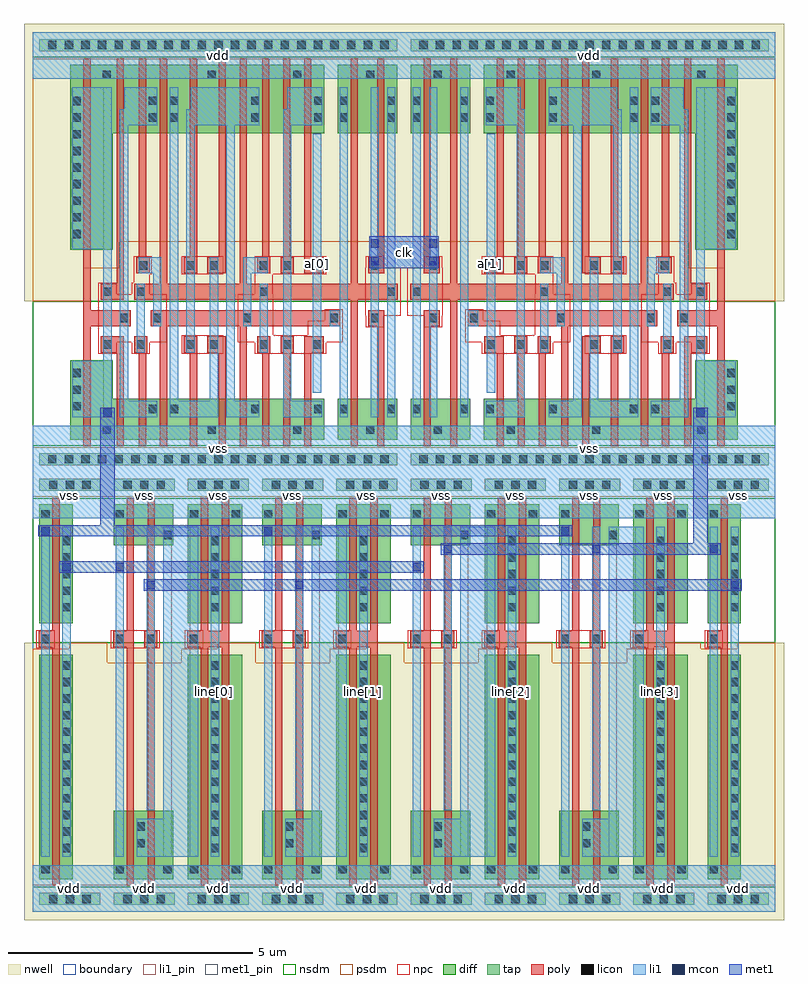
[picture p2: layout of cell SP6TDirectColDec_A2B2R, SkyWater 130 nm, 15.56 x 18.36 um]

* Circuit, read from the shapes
.subckt SP6TDirectColDec_A2B2R a[0] a[1] clk line[0] line[1] line[2] line[3] vdd vss
XM1 Dec_nand2_x0_7/i0 Dec_inv_x1_4/i vss vss sky130_fd_pr__nfet_01v8 w=2.44 l=0.15
XM2 vss n1 Dec_inv_x1_4/i vss sky130_fd_pr__nfet_01v8 w=1.63 l=0.15
XM3 n2 Dec_inv_x1_4/i vss vss sky130_fd_pr__nfet_01v8 w=0.84 l=0.15
XM4 n3 Dec_nand2_x0_7/i0 vss vss sky130_fd_pr__nfet_01v8 w=0.84 l=0.15
XM5 n1 n4 n2 vss sky130_fd_pr__nfet_01v8 w=0.84 l=0.15
XM6 Dec_inv_x2_0/i Dec_nand2_x0_7/i1 n3 vss sky130_fd_pr__nfet_01v8 w=0.84 l=0.15
XM7 n5 n6 n1 vss sky130_fd_pr__nfet_01v8 w=0.84 l=0.15
XM8 vss n7 n5 vss sky130_fd_pr__nfet_01v8 w=0.84 l=0.15
XM9 line[0] Dec_inv_x2_0/i vss vss sky130_fd_pr__nfet_01v8 w=2.44 l=0.15 m=2
XM10 n8 n5 vss vss sky130_fd_pr__nfet_01v8 w=0.84 l=0.15
XM11 n7 n6 n8 vss sky130_fd_pr__nfet_01v8 w=0.84 l=0.15
XM12 n9 n4 n7 vss sky130_fd_pr__nfet_01v8 w=0.84 l=0.15
XM13 n10 Dec_inv_x1_4/i vss vss sky130_fd_pr__nfet_01v8 w=0.84 l=0.15
XM14 vss n11 n9 vss sky130_fd_pr__nfet_01v8 w=0.84 l=0.15
XM15 Dec_inv_x2_1/i Dec_nand2_x0_7/i1 n10 vss sky130_fd_pr__nfet_01v8 w=0.84 l=0.15
XM16 n11 a[0] vss vss sky130_fd_pr__nfet_01v8 w=0.84 l=0.15
XM17 line[1] Dec_inv_x2_1/i vss vss sky130_fd_pr__nfet_01v8 w=2.44 l=0.15 m=2
XM18 vss n4 n6 vss sky130_fd_pr__nfet_01v8 w=0.84 l=0.15
XM19 n4 clk vss vss sky130_fd_pr__nfet_01v8 w=0.84 l=0.15
XM20 n12 Dec_nand2_x0_7/i0 vss vss sky130_fd_pr__nfet_01v8 w=0.84 l=0.15
XM21 vss clk n13 vss sky130_fd_pr__nfet_01v8 w=0.84 l=0.15
XM22 Dec_inv_x2_2/i Dec_inv_x1_5/i n12 vss sky130_fd_pr__nfet_01v8 w=0.84 l=0.15
XM23 n14 n13 vss vss sky130_fd_pr__nfet_01v8 w=0.84 l=0.15
XM24 vss a[1] n15 vss sky130_fd_pr__nfet_01v8 w=0.84 l=0.15
XM25 line[2] Dec_inv_x2_2/i vss vss sky130_fd_pr__nfet_01v8 w=2.44 l=0.15 m=2
XM26 n16 n15 vss vss sky130_fd_pr__nfet_01v8 w=0.84 l=0.15
XM27 n17 n13 n16 vss sky130_fd_pr__nfet_01v8 w=0.84 l=0.15
XM28 n18 n14 n17 vss sky130_fd_pr__nfet_01v8 w=0.84 l=0.15
XM29 n19 Dec_inv_x1_4/i vss vss sky130_fd_pr__nfet_01v8 w=0.84 l=0.15
XM30 vss n20 n18 vss sky130_fd_pr__nfet_01v8 w=0.84 l=0.15
XM31 Dec_inv_x2_3/i Dec_inv_x1_5/i n19 vss sky130_fd_pr__nfet_01v8 w=0.84 l=0.15
XM32 n20 n17 vss vss sky130_fd_pr__nfet_01v8 w=0.84 l=0.15
XM33 n21 n14 n20 vss sky130_fd_pr__nfet_01v8 w=0.84 l=0.15
XM34 line[3] Dec_inv_x2_3/i vss vss sky130_fd_pr__nfet_01v8 w=2.44 l=0.15 m=2
XM35 n22 n13 n21 vss sky130_fd_pr__nfet_01v8 w=0.84 l=0.15
XM36 vss Dec_inv_x1_5/i n22 vss sky130_fd_pr__nfet_01v8 w=0.84 l=0.15
XM37 Dec_inv_x1_5/i n21 vss vss sky130_fd_pr__nfet_01v8 w=1.63 l=0.15
XM38 Dec_nand2_x0_7/i1 Dec_inv_x1_5/i vss vss sky130_fd_pr__nfet_01v8 w=2.44 l=0.15
XM39 Dec_nand2_x0_7/i0 Dec_inv_x1_4/i vdd vdd sky130_fd_pr__pfet_01v8 w=4.6 l=0.15
XM40 vdd n1 Dec_inv_x1_4/i vdd sky130_fd_pr__pfet_01v8 w=3.79 l=0.15
XM41 n23 Dec_inv_x1_4/i vdd vdd sky130_fd_pr__pfet_01v8 w=1.4 l=0.15
XM42 Dec_inv_x2_0/i Dec_nand2_x0_7/i0 vdd vdd sky130_fd_pr__pfet_01v8 w=1.4 l=0.15
XM43 n1 n6 n23 vdd sky130_fd_pr__pfet_01v8 w=1.4 l=0.15
XM44 vdd Dec_nand2_x0_7/i1 Dec_inv_x2_0/i vdd sky130_fd_pr__pfet_01v8 w=1.4 l=0.15
XM45 n5 n4 n1 vdd sky130_fd_pr__pfet_01v8 w=1.4 l=0.15
XM46 vdd n7 n5 vdd sky130_fd_pr__pfet_01v8 w=1.4 l=0.15
XM47 line[0] Dec_inv_x2_0/i vdd vdd sky130_fd_pr__pfet_01v8 w=4.6 l=0.15 m=2
XM48 n24 n5 vdd vdd sky130_fd_pr__pfet_01v8 w=1.4 l=0.15
XM49 n7 n4 n24 vdd sky130_fd_pr__pfet_01v8 w=1.4 l=0.15
XM50 n25 n6 n7 vdd sky130_fd_pr__pfet_01v8 w=1.4 l=0.15
XM51 Dec_inv_x2_1/i Dec_inv_x1_4/i vdd vdd sky130_fd_pr__pfet_01v8 w=1.4 l=0.15
XM52 vdd n11 n25 vdd sky130_fd_pr__pfet_01v8 w=1.4 l=0.15
XM53 vdd Dec_nand2_x0_7/i1 Dec_inv_x2_1/i vdd sky130_fd_pr__pfet_01v8 w=1.4 l=0.15
XM54 n11 a[0] vdd vdd sky130_fd_pr__pfet_01v8 w=1.4 l=0.15
XM55 line[1] Dec_inv_x2_1/i vdd vdd sky130_fd_pr__pfet_01v8 w=4.6 l=0.15 m=2
XM56 vdd n4 n6 vdd sky130_fd_pr__pfet_01v8 w=1.4 l=0.15
XM57 n4 clk vdd vdd sky130_fd_pr__pfet_01v8 w=1.4 l=0.15
XM58 Dec_inv_x2_2/i Dec_nand2_x0_7/i0 vdd vdd sky130_fd_pr__pfet_01v8 w=1.4 l=0.15
XM59 vdd clk n13 vdd sky130_fd_pr__pfet_01v8 w=1.4 l=0.15
XM60 vdd Dec_inv_x1_5/i Dec_inv_x2_2/i vdd sky130_fd_pr__pfet_01v8 w=1.4 l=0.15
XM61 n14 n13 vdd vdd sky130_fd_pr__pfet_01v8 w=1.4 l=0.15
XM62 vdd a[1] n15 vdd sky130_fd_pr__pfet_01v8 w=1.4 l=0.15
XM63 line[2] Dec_inv_x2_2/i vdd vdd sky130_fd_pr__pfet_01v8 w=4.6 l=0.15 m=2
XM64 n26 n15 vdd vdd sky130_fd_pr__pfet_01v8 w=1.4 l=0.15
XM65 n17 n14 n26 vdd sky130_fd_pr__pfet_01v8 w=1.4 l=0.15
XM66 n27 n13 n17 vdd sky130_fd_pr__pfet_01v8 w=1.4 l=0.15
XM67 Dec_inv_x2_3/i Dec_inv_x1_4/i vdd vdd sky130_fd_pr__pfet_01v8 w=1.4 l=0.15
XM68 vdd n20 n27 vdd sky130_fd_pr__pfet_01v8 w=1.4 l=0.15
XM69 vdd Dec_inv_x1_5/i Dec_inv_x2_3/i vdd sky130_fd_pr__pfet_01v8 w=1.4 l=0.15
XM70 n20 n17 vdd vdd sky130_fd_pr__pfet_01v8 w=1.4 l=0.15
XM71 n21 n13 n20 vdd sky130_fd_pr__pfet_01v8 w=1.4 l=0.15
XM72 line[3] Dec_inv_x2_3/i vdd vdd sky130_fd_pr__pfet_01v8 w=4.6 l=0.15 m=2
XM73 n28 n14 n21 vdd sky130_fd_pr__pfet_01v8 w=1.4 l=0.15
XM74 vdd Dec_inv_x1_5/i n28 vdd sky130_fd_pr__pfet_01v8 w=1.4 l=0.15
XM75 Dec_inv_x1_5/i n21 vdd vdd sky130_fd_pr__pfet_01v8 w=3.79 l=0.15
XM76 Dec_nand2_x0_7/i1 Dec_inv_x1_5/i vdd vdd sky130_fd_pr__pfet_01v8 w=4.6 l=0.15
.ends

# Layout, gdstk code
from math import pi, radians
import gdstk
lib = gdstk.Library(unit=1e-6, precision=1e-09)
def R(c, l, rs):  # rectangles x0, y0, x1, y1
    for r in rs: c.add(gdstk.rectangle(r[:2], r[2:], *l))
def A(c, l, x, y, w, h, nx, ny, dx, dy):  # array of equal rectangles
    R(c, l, [(x+i*dx, y+j*dy, x+i*dx+w, y+j*dy+h) for i in range(nx) for j in range(ny)])
def P(c, l, *ps):  # polygons
    for p in ps: c.add(gdstk.Polygon(p, *l))
nwell = (64, 20)
diff = (65, 20)
tap = (65, 44)
poly = (66, 20)
licon = (66, 44)
li1_pin = (67, 16)
li1 = (67, 20)
mcon = (67, 44)
met1_pin = (68, 16)
met1 = (68, 20)
nsdm = (93, 44)
psdm = (94, 20)
npc = (95, 20)
boundary = (235, 4)

dec_inv_x2 = lib.new_cell('Dec_inv_x2')
R(dec_inv_x2, nwell, [(-0.18,3.5,1.7,9.18)])
R(dec_inv_x2, diff, [(0.135,0.66,1.245,3.1), (0.135,3.74,1.245,8.34)])
R(dec_inv_x2, tap, [(0.135,0.135,1.385,0.385), (0.135,8.615,1.385,8.865)])
P(dec_inv_x2, poly, [(0.4,0.53),(0.4,3.255),(0.125,3.255),(0.125,3.585),(0.4,3.585),(0.4,8.47),(0.55,8.47),(0.55,3.585),(0.83,3.585),(0.83,8.47),(0.98,8.47),(0.98,0.53),(0.83,0.53),(0.83,3.255),(0.55,3.255),(0.55,0.53)])
A(dec_inv_x2, licon, 0.335, 0.175, 0.17, 0.17, 3, 2, 0.34, 8.48)
A(dec_inv_x2, licon, 0.605, 1.325, 0.17, 0.17, 1, 5, 0, 0.34)
A(dec_inv_x2, licon, 0.605, 3.875, 0.17, 0.17, 1, 12, 0, 0.34)
R(dec_inv_x2, licon, [(0.175,0.78,0.345,0.95), (1.035,0.78,1.205,0.95), (0.175,3.335,0.345,3.505), (0.175,8.05,0.345,8.22), (1.035,8.05,1.205,8.22)])
R(dec_inv_x2, li1_pin, [(0,0,1.52,0.95), (0.175,1.12,0.345,7.88), (0.605,1.12,0.775,7.88), (0,8.05,1.52,9)])
R(dec_inv_x2, li1, [(0,0,1.52,0.95), (0.175,1.12,0.345,7.88), (0.605,1.12,0.775,7.88), (0,8.05,1.52,9)])
R(dec_inv_x2, nsdm, [(0,0.535,1.52,3.5), (0,8.49,1.52,9)])
R(dec_inv_x2, psdm, [(0,0,1.52,0.51)])
P(dec_inv_x2, psdm, [(0.745,3.5),(0.745,3.615),(0,3.615),(0,8.465),(1.52,8.465),(1.52,3.5)])
R(dec_inv_x2, npc, [(0.075,3.235,0.445,3.605)])
dec_inv_x2.add(gdstk.Label('i', (0.26,4.5), layer=67, texttype=16))
dec_inv_x2.add(gdstk.Label('nq', (0.69,4.5), layer=67, texttype=16))
dec_inv_x2.add(gdstk.Label('vdd', (0.76,8.525), layer=67, texttype=16))
dec_inv_x2.add(gdstk.Label('vss', (0.76,0.475), layer=67, texttype=16))

dec_inv_x1 = lib.new_cell('Dec_inv_x1')
R(dec_inv_x1, nwell, [(-0.18,3.5,1.7,9.18)])
R(dec_inv_x1, diff, [(0.135,0.66,0.815,3.1), (0.135,3.74,0.815,8.34)])
R(dec_inv_x1, tap, [(0.135,0.135,1.385,0.385), (0.135,8.615,1.385,8.865)])
P(dec_inv_x1, poly, [(0.4,0.53),(0.4,3.255),(0.125,3.255),(0.125,3.585),(0.4,3.585),(0.4,8.47),(0.55,8.47),(0.55,0.53)])
A(dec_inv_x1, licon, 0.335, 0.175, 0.17, 0.17, 3, 2, 0.34, 8.48)
A(dec_inv_x1, licon, 0.605, 1.325, 0.17, 0.17, 1, 5, 0, 0.34)
A(dec_inv_x1, licon, 0.605, 3.875, 0.17, 0.17, 1, 12, 0, 0.34)
R(dec_inv_x1, licon, [(0.175,0.78,0.345,0.95), (0.175,3.335,0.345,3.505), (0.175,8.05,0.345,8.22)])
R(dec_inv_x1, li1_pin, [(0,0,1.52,0.95), (0.175,1.12,0.345,7.88), (0.605,1.12,0.775,7.88), (0,8.05,1.52,9)])
R(dec_inv_x1, li1, [(0,0,1.52,0.95), (0.175,1.12,0.345,7.88), (0.605,1.12,0.775,7.88), (0,8.05,1.52,9)])
R(dec_inv_x1, nsdm, [(0,0.535,1.52,3.5), (0,8.49,1.52,9)])
R(dec_inv_x1, psdm, [(0,0,1.52,0.51)])
P(dec_inv_x1, psdm, [(0.745,3.5),(0.745,3.615),(0,3.615),(0,8.465),(1.52,8.465),(1.52,3.5)])
R(dec_inv_x1, npc, [(0.075,3.235,0.445,3.605)])
dec_inv_x1.add(gdstk.Label('i', (0.26,4.5), layer=67, texttype=16))
dec_inv_x1.add(gdstk.Label('nq', (0.69,4.5), layer=67, texttype=16))
dec_inv_x1.add(gdstk.Label('vdd', (0.76,8.525), layer=67, texttype=16))
dec_inv_x1.add(gdstk.Label('vss', (0.76,0.475), layer=67, texttype=16))

dec_dff_x1 = lib.new_cell('Dec_dff_x1')
R(dec_dff_x1, nwell, [(-0.18,3.5,7.78,9.18)])
R(dec_dff_x1, diff, [(0.135,0.66,1.36,1.5), (0.135,6.94,1.36,8.34)])
P(dec_dff_x1, diff, [(5.96,4.55),(5.96,6.94),(1.63,6.94),(1.63,8.34),(6.83,8.34),(6.83,4.55)],
  [(1.63,0.66),(1.63,1.5),(5.96,1.5),(5.96,2.29),(6.83,2.29),(6.83,0.66)])
R(dec_dff_x1, tap, [(0.135,0.135,7.465,0.385), (0.135,8.615,7.465,8.865)])
P(dec_dff_x1, poly, [(6.415,0.53),(6.415,2.985),(5.595,2.985),(5.595,3.315),(6.415,3.315),(6.415,8.47),(6.565,8.47),(6.565,0.53)],
  [(5.735,3.525),(5.735,8.47),(5.885,8.47),(5.885,3.855),(6.205,3.855),(6.205,3.525)],
  [(3.645,4.065),(3.645,8.47),(3.795,8.47),(3.795,4.395),(4.025,4.395),(4.025,4.065)],
  [(1.895,0.53),(1.895,2.445),(1.645,2.445),(1.645,2.775),(2.045,2.775),(2.045,0.53)],
  [(2.255,4.065),(2.255,4.395),(2.325,4.395),(2.325,8.47),(2.475,8.47),(2.475,4.395),(2.525,4.395),(2.525,4.065)],
  [(5.21,4.065),(5.21,4.395),(5.28,4.395),(5.28,8.47),(5.43,8.47),(5.43,4.395),(5.48,4.395),(5.48,4.065)],
  [(2.755,0.53),(2.755,2.445),(2.735,2.445),(2.735,2.775),(3.005,2.775),(3.005,2.445),(2.905,2.445),(2.905,0.53)],
  [(2.325,0.53),(2.325,2.445),(2.255,2.445),(2.255,2.775),(2.525,2.775),(2.525,2.445),(2.475,2.445),(2.475,0.53)],
  [(5.28,0.53),(5.28,2.445),(5.255,2.445),(5.255,2.775),(5.525,2.775),(5.525,2.445),(5.43,2.445),(5.43,0.53)],
  [(1.645,4.065),(1.645,4.395),(1.895,4.395),(1.895,8.47),(2.045,8.47),(2.045,4.065)],
  [(3.645,0.53),(3.645,2.775),(4.025,2.775),(4.025,2.445),(3.795,2.445),(3.795,0.53)],
  [(2.735,4.065),(2.735,4.395),(2.755,4.395),(2.755,8.47),(2.905,8.47),(2.905,4.395),(3.005,4.395),(3.005,4.065)],
  [(4.235,0.53),(4.235,2.775),(4.505,2.775),(4.505,2.445),(4.385,2.445),(4.385,0.53)],
  [(5.735,0.53),(5.735,2.775),(6.205,2.775),(6.205,2.445),(5.885,2.445),(5.885,0.53)],
  [(0.945,0.53),(0.945,3.525),(0.125,3.525),(0.125,3.855),(0.945,3.855),(0.945,8.47),(1.095,8.47),(1.095,3.855),(3.215,3.855),(3.215,8.47),(3.365,8.47),(3.365,3.855),(4.85,3.855),(4.85,8.47),(5,8.47),(5,3.855),(5.525,3.855),(5.525,3.525),(1.095,3.525),(1.095,0.53)],
  [(4.235,4.065),(4.235,8.47),(4.385,8.47),(4.385,4.395),(4.505,4.395),(4.505,4.065)],
  [(0.4,4.065),(0.4,8.47),(0.55,8.47),(0.55,4.395),(0.735,4.395),(0.735,4.065)],
  [(0.4,0.53),(0.4,3.315),(0.735,3.315),(0.735,2.985),(0.55,2.985),(0.55,0.53)],
  [(3.215,0.53),(3.215,2.985),(1.305,2.985),(1.305,3.315),(5.185,3.315),(5.185,2.985),(5,2.985),(5,0.53),(4.85,0.53),(4.85,2.985),(3.365,2.985),(3.365,0.53)])
A(dec_dff_x1, licon, 0.315, 0.175, 0.17, 0.17, 21, 2, 0.34, 8.48)
A(dec_dff_x1, licon, 6.62, 1.26, 0.17, 0.17, 1, 3, 0, 0.34)
A(dec_dff_x1, licon, 6.62, 4.79, 0.17, 0.17, 1, 9, 0, 0.34)
R(dec_dff_x1, licon, [(0.605,0.78,0.775,0.95), (2.1,0.78,2.27,0.95), (3.85,0.78,4.02,0.95), (6,0.78,6.17,0.95), (0.175,1.205,0.345,1.375), (1.15,1.205,1.32,1.375), (1.67,1.205,1.84,1.375), (2.96,1.205,3.13,1.375), (4.625,1.205,4.795,1.375), (5.055,1.205,5.225,1.375), (1.695,2.525,1.865,2.695), (2.305,2.525,2.475,2.695), (2.785,2.525,2.955,2.695), (3.805,2.525,3.975,2.695), (4.285,2.525,4.455,2.695), (5.305,2.525,5.475,2.695), (5.985,2.525,6.155,2.695), (0.515,3.065,0.685,3.235), (1.355,3.065,1.525,3.235), (3.125,3.065,3.295,3.235), (4.965,3.065,5.135,3.235), (5.645,3.065,5.815,3.235), (0.175,3.605,0.345,3.775), (2.785,3.605,2.955,3.775), (5.305,3.605,5.475,3.775), (5.985,3.605,6.155,3.775), (0.515,4.145,0.685,4.315), (1.695,4.145,1.865,4.315), (2.305,4.145,2.475,4.315), (2.785,4.145,2.955,4.315), (3.805,4.145,3.975,4.315), (4.285,4.145,4.455,4.315), (5.26,4.145,5.43,4.315), (0.175,7.175,0.345,7.345), (1.15,7.175,1.32,7.345), (1.67,7.175,1.84,7.345), (2.96,7.175,3.13,7.345), (4.625,7.175,4.795,7.345), (5.055,7.175,5.225,7.345), (0.175,7.515,0.345,7.685), (1.15,7.515,1.32,7.685), (1.67,7.515,1.84,7.685), (2.96,7.515,3.13,7.685), (4.625,7.515,4.795,7.685), (5.055,7.515,5.225,7.685), (0.605,8.05,0.775,8.22), (2.1,8.05,2.27,8.22), (3.85,8.05,4.02,8.22), (6,8.05,6.17,8.22)])
R(dec_dff_x1, li1_pin, [(0,0,7.6,0.95), (0.515,1.12,0.685,7.88), (5.985,1.12,6.155,7.88), (1.695,1.625,1.865,6.925), (0,8.05,7.6,9)])
R(dec_dff_x1, li1, [(0,0,7.6,0.95), (0.175,1.12,0.345,7.88), (0.515,1.12,0.685,7.88), (1.695,1.625,1.865,6.925), (2.785,2.445,2.955,3.855), (5.305,2.445,5.475,3.855), (0,8.05,7.6,9)])
P(dec_dff_x1, li1, [(5.985,1.12),(5.985,7.88),(6.79,7.88),(6.79,4.565),(6.155,4.565),(6.155,2.275),(6.79,2.275),(6.79,1.12)],
  [(5.055,1.12),(5.055,1.455),(5.645,1.455),(5.645,7.095),(5.055,7.095),(5.055,7.88),(5.73,7.88),(5.73,7.425),(5.815,7.425),(5.815,1.125),(5.73,1.125),(5.73,1.12)],
  [(3.89,1.12),(3.89,1.125),(3.805,1.125),(3.805,4.395),(3.975,4.395),(3.975,1.455),(4.625,1.455),(4.625,7.88),(4.795,7.88),(4.795,1.12)],
  [(1.15,1.12),(1.15,7.88),(1.32,7.88),(1.32,3.315),(1.525,3.315),(1.525,2.985),(1.32,2.985),(1.32,1.12)],
  [(2.96,1.12),(2.96,1.455),(3.465,1.455),(3.465,7.095),(2.96,7.095),(2.96,7.88),(4.37,7.88),(4.37,7.425),(4.455,7.425),(4.455,2.445),(4.285,2.445),(4.285,7.095),(3.635,7.095),(3.635,1.125),(3.55,1.125),(3.55,1.12)],
  [(4.965,2.985),(4.965,4.395),(5.43,4.395),(5.43,4.065),(5.135,4.065),(5.135,2.985)],
  [(1.67,1.12),(1.67,1.455),(2.305,1.455),(2.305,7.095),(1.67,7.095),(1.67,7.88),(2.39,7.88),(2.39,7.425),(2.475,7.425),(2.475,1.125),(2.39,1.125),(2.39,1.12)],
  [(3.125,2.985),(3.125,4.065),(2.785,4.065),(2.785,4.395),(3.295,4.395),(3.295,2.985)])
R(dec_dff_x1, nsdm, [(0,0.535,7.6,3.5), (0,8.49,7.6,9)])
R(dec_dff_x1, psdm, [(0,0,7.6,0.51)])
P(dec_dff_x1, psdm, [(6.555,3.5),(6.555,4.175),(5.83,4.175),(5.83,4.715),(0,4.715),(0,8.465),(7.6,8.465),(7.6,3.5)])
R(dec_dff_x1, npc, [(3.705,2.425,4.555,2.795), (3.705,4.045,4.555,4.415)])
P(dec_dff_x1, npc, [(5.205,2.425),(5.205,2.66),(4.86,2.66),(4.86,3.64),(5.205,3.64),(5.205,4.045),(5.16,4.045),(5.16,4.415),(5.53,4.415),(5.53,3.875),(5.575,3.875),(5.575,3.64),(5.885,3.64),(5.885,3.875),(6.255,3.875),(6.255,3.64),(6.26,3.64),(6.26,2.66),(6.255,2.66),(6.255,2.425),(5.885,2.425),(5.885,2.66),(5.575,2.66),(5.575,2.425)],
  [(1.595,2.425),(1.595,2.66),(1.25,2.66),(1.25,3.1),(1.255,3.1),(1.255,3.335),(1.625,3.335),(1.625,3.1),(1.97,3.1),(1.97,2.795),(2.68,2.795),(2.68,3.64),(2.685,3.64),(2.685,4.045),(1.595,4.045),(1.595,4.415),(3.055,4.415),(3.055,3.64),(3.4,3.64),(3.4,2.66),(3.055,2.66),(3.055,2.425)],
  [(0.415,2.965),(0.415,3.2),(0.07,3.2),(0.07,4.18),(0.415,4.18),(0.415,4.415),(0.785,4.415),(0.785,4.18),(0.79,4.18),(0.79,3.2),(0.785,3.2),(0.785,2.965)])
dec_dff_x1.add(gdstk.Label('q', (6.07,4.5), layer=67, texttype=16))
dec_dff_x1.add(gdstk.Label('i', (1.78,4.275), layer=67, texttype=16))
dec_dff_x1.add(gdstk.Label('clk', (0.6,4.5), layer=67, texttype=16))
dec_dff_x1.add(gdstk.Label('vss', (3.8,0.475), layer=67, texttype=16))
dec_dff_x1.add(gdstk.Label('vdd', (3.8,8.525), layer=67, texttype=16))

dec_nand2_x0 = lib.new_cell('Dec_nand2_x0')
R(dec_nand2_x0, nwell, [(-0.18,3.5,1.7,9.18)])
R(dec_nand2_x0, diff, [(0.135,0.66,1.36,1.5), (0.135,6.94,1.36,8.34)])
R(dec_nand2_x0, tap, [(0.135,0.135,1.385,0.385), (0.135,8.615,1.385,8.865)])
P(dec_nand2_x0, poly, [(0.83,0.53),(0.83,3.255),(0.76,3.255),(0.76,3.585),(0.83,3.585),(0.83,8.47),(0.98,8.47),(0.98,3.585),(1.03,3.585),(1.03,3.255),(0.98,3.255),(0.98,0.53)],
  [(0.4,0.53),(0.4,3.255),(0.125,3.255),(0.125,3.585),(0.4,3.585),(0.4,8.47),(0.55,8.47),(0.55,0.53)])
A(dec_nand2_x0, licon, 0.335, 0.175, 0.17, 0.17, 3, 2, 0.34, 8.48)
R(dec_nand2_x0, licon, [(0.175,0.78,0.345,0.95), (1.15,1.205,1.32,1.375), (0.175,3.335,0.345,3.505), (0.81,3.335,0.98,3.505), (0.605,7.175,0.775,7.345), (0.605,7.515,0.775,7.685), (0.175,8.05,0.345,8.22), (1.15,8.05,1.32,8.22)])
R(dec_nand2_x0, li1_pin, [(0,0,1.52,0.95), (0.175,1.12,0.345,7.88), (0.81,1.12,0.98,6.925), (1.15,1.12,1.32,7.88), (0,8.05,1.52,9)])
R(dec_nand2_x0, li1, [(0,0,1.52,0.95), (0.175,1.12,0.345,7.88), (0.81,1.12,0.98,6.925), (0,8.05,1.52,9)])
P(dec_nand2_x0, li1, [(1.15,1.12),(1.15,7.095),(0.605,7.095),(0.605,7.88),(1.32,7.88),(1.32,1.12)])
R(dec_nand2_x0, nsdm, [(0,0.535,1.52,3.5), (0,8.49,1.52,9)])
R(dec_nand2_x0, psdm, [(0,0,1.52,0.51), (0,3.905,1.52,8.465)])
R(dec_nand2_x0, npc, [(0.075,3.235,1.08,3.605)])
dec_nand2_x0.add(gdstk.Label('nq', (1.235,4.5), layer=67, texttype=16))
dec_nand2_x0.add(gdstk.Label('i1', (0.895,4.023), layer=67, texttype=16))
dec_nand2_x0.add(gdstk.Label('i0', (0.26,4.5), layer=67, texttype=16))
dec_nand2_x0.add(gdstk.Label('vdd', (0.76,8.525), layer=67, texttype=16))
dec_nand2_x0.add(gdstk.Label('vss', (0.76,0.475), layer=67, texttype=16))

sp6tdirectcoldec_a2b2r = lib.new_cell('SP6TDirectColDec_A2B2R')
A(sp6tdirectcoldec_a2b2r, li1_pin, 3.645, -7.88, 0.17, 6.76, 4, 1, 3.04, 0)
R(sp6tdirectcoldec_a2b2r, li1_pin, [(0,-9,15.2,-8.05), (0,-0.95,15.2,0.95), (5.735,1.625,5.905,6.925), (9.295,1.625,9.465,6.925), (0,8.05,15.2,9)])
A(sp6tdirectcoldec_a2b2r, li1, 2.67, -7.88, 0.715, 6.76, 4, 1, 3.04, 0)
A(sp6tdirectcoldec_a2b2r, li1, 3.645, -7.88, 0.17, 6.76, 4, 1, 3.04, 0)
R(sp6tdirectcoldec_a2b2r, li1, [(0,-9,15.2,-8.05), (2.33,-2.4,2.5,-2.23), (5.37,-2.4,5.54,-2.23), (14.285,-2.4,14.455,-2.23), (0.605,-2.03,0.775,-1.86), (1.695,-2.03,1.865,-1.86), (7.775,-2.03,7.945,-1.86), (8.41,-1.66,8.58,-1.49), (11.45,-1.66,11.62,-1.49), (13.855,-1.66,14.025,-1.49), (0.175,-1.29,0.345,-1.12), (4.735,-1.29,4.905,-1.12), (10.815,-1.29,10.985,-1.12), (0,-0.95,15.2,0.95), (1.445,1.12,1.615,1.29), (13.585,1.12,13.755,1.29), (5.735,1.625,5.905,6.925), (9.295,1.625,9.465,6.925), (6.915,4.235,7.085,4.765), (8.115,4.235,8.285,4.765), (0,8.05,15.2,9)])
R(sp6tdirectcoldec_a2b2r, mcon, [(2.33,-2.4,2.5,-2.23), (5.37,-2.4,5.54,-2.23), (14.285,-2.4,14.455,-2.23), (0.605,-2.03,0.775,-1.86), (1.695,-2.03,1.865,-1.86), (7.775,-2.03,7.945,-1.86), (8.41,-1.66,8.58,-1.49), (11.45,-1.66,11.62,-1.49), (13.855,-1.66,14.025,-1.49), (0.175,-1.29,0.345,-1.12), (4.735,-1.29,4.905,-1.12), (10.815,-1.29,10.985,-1.12), (1.445,1.12,1.615,1.29), (13.585,1.12,13.755,1.29), (6.915,4.235,7.085,4.405), (8.115,4.235,8.285,4.405), (6.915,4.595,7.085,4.765), (8.115,4.595,8.285,4.765)])
R(sp6tdirectcoldec_a2b2r, met1_pin, [(6.885,4.175,8.315,4.825)])
R(sp6tdirectcoldec_a2b2r, met1, [(2.27,-2.43,14.515,-2.2), (0.545,-2.06,8.005,-1.83), (6.885,4.175,8.315,4.825)])
P(sp6tdirectcoldec_a2b2r, met1, [(8.35,-1.69),(8.35,-1.46),(13.525,-1.46),(13.525,1.32),(13.815,1.32),(13.815,-1.46),(14.085,-1.46),(14.085,-1.69)],
  [(0.115,-1.32),(0.115,-1.09),(1.385,-1.09),(1.385,1.32),(1.675,1.32),(1.675,-1.09),(11.045,-1.09),(11.045,-1.32)])
R(sp6tdirectcoldec_a2b2r, boundary, [(0,-9,15.2,9)])
sp6tdirectcoldec_a2b2r.add(gdstk.Reference(dec_inv_x2, (3.04,0), x_reflection=True))
sp6tdirectcoldec_a2b2r.add(gdstk.Reference(dec_inv_x2, (6.08,0), x_reflection=True))
sp6tdirectcoldec_a2b2r.add(gdstk.Reference(dec_inv_x2, (9.12,0), x_reflection=True))
sp6tdirectcoldec_a2b2r.add(gdstk.Reference(dec_inv_x2, (12.16,0), x_reflection=True))
sp6tdirectcoldec_a2b2r.add(gdstk.Reference(dec_inv_x1, (0,0), x_reflection=True))
sp6tdirectcoldec_a2b2r.add(gdstk.Reference(dec_inv_x1, (13.68,0), x_reflection=True))
sp6tdirectcoldec_a2b2r.add(gdstk.Reference(dec_dff_x1, (7.6,0)))
sp6tdirectcoldec_a2b2r.add(gdstk.Reference(dec_nand2_x0, (1.52,0), x_reflection=True))
sp6tdirectcoldec_a2b2r.add(gdstk.Reference(dec_nand2_x0, (4.56,0), x_reflection=True))
sp6tdirectcoldec_a2b2r.add(gdstk.Reference(dec_nand2_x0, (7.6,0), x_reflection=True))
sp6tdirectcoldec_a2b2r.add(gdstk.Reference(dec_nand2_x0, (10.64,0), x_reflection=True))
sp6tdirectcoldec_a2b2r.add(gdstk.Reference(dec_dff_x1, (7.6,0), rotation=pi, x_reflection=True))
sp6tdirectcoldec_a2b2r.add(gdstk.Label('clk', (7.6,4.5), layer=68, texttype=16))
sp6tdirectcoldec_a2b2r.add(gdstk.Label('line[3]', (12.85,-4.5), layer=67, texttype=16))
sp6tdirectcoldec_a2b2r.add(gdstk.Label('line[2]', (9.81,-4.5), layer=67, texttype=16))
sp6tdirectcoldec_a2b2r.add(gdstk.Label('line[1]', (6.77,-4.5), layer=67, texttype=16))
sp6tdirectcoldec_a2b2r.add(gdstk.Label('a[1]', (9.38,4.275), layer=67, texttype=16))
sp6tdirectcoldec_a2b2r.add(gdstk.Label('a[0]', (5.82,4.275), layer=67, texttype=16))
sp6tdirectcoldec_a2b2r.add(gdstk.Label('vdd', (3.8,-8.525), layer=67, texttype=16))
sp6tdirectcoldec_a2b2r.add(gdstk.Label('vdd', (11.4,-8.525), layer=67, texttype=16))
sp6tdirectcoldec_a2b2r.add(gdstk.Label('vdd', (3.8,8.525), layer=67, texttype=16))
sp6tdirectcoldec_a2b2r.add(gdstk.Label('vdd', (11.4,8.525), layer=67, texttype=16))
sp6tdirectcoldec_a2b2r.add(gdstk.Label('vdd', (2.28,-8.525), layer=67, texttype=16))
sp6tdirectcoldec_a2b2r.add(gdstk.Label('vdd', (6.84,-8.525), layer=67, texttype=16))
sp6tdirectcoldec_a2b2r.add(gdstk.Label('vdd', (8.36,-8.525), layer=67, texttype=16))
sp6tdirectcoldec_a2b2r.add(gdstk.Label('vdd', (12.92,-8.525), layer=67, texttype=16))
sp6tdirectcoldec_a2b2r.add(gdstk.Label('vdd', (0.76,-8.525), layer=67, texttype=16))
sp6tdirectcoldec_a2b2r.add(gdstk.Label('vdd', (5.32,-8.525), layer=67, texttype=16))
sp6tdirectcoldec_a2b2r.add(gdstk.Label('vdd', (9.88,-8.525), layer=67, texttype=16))
sp6tdirectcoldec_a2b2r.add(gdstk.Label('vdd', (14.44,-8.525), layer=67, texttype=16))
sp6tdirectcoldec_a2b2r.add(gdstk.Label('line[0]', (3.73,-4.5), layer=67, texttype=16))
sp6tdirectcoldec_a2b2r.add(gdstk.Label('vss', (3.8,-0.475), layer=67, texttype=16))
sp6tdirectcoldec_a2b2r.add(gdstk.Label('vss', (11.4,-0.475), layer=67, texttype=16))
sp6tdirectcoldec_a2b2r.add(gdstk.Label('vss', (3.8,0.475), layer=67, texttype=16))
sp6tdirectcoldec_a2b2r.add(gdstk.Label('vss', (11.4,0.475), layer=67, texttype=16))
sp6tdirectcoldec_a2b2r.add(gdstk.Label('vss', (2.28,-0.475), layer=67, texttype=16))
sp6tdirectcoldec_a2b2r.add(gdstk.Label('vss', (6.84,-0.475), layer=67, texttype=16))
sp6tdirectcoldec_a2b2r.add(gdstk.Label('vss', (8.36,-0.475), layer=67, texttype=16))
sp6tdirectcoldec_a2b2r.add(gdstk.Label('vss', (12.92,-0.475), layer=67, texttype=16))
sp6tdirectcoldec_a2b2r.add(gdstk.Label('vss', (0.76,-0.475), layer=67, texttype=16))
sp6tdirectcoldec_a2b2r.add(gdstk.Label('vss', (5.32,-0.475), layer=67, texttype=16))
sp6tdirectcoldec_a2b2r.add(gdstk.Label('vss', (9.88,-0.475), layer=67, texttype=16))
sp6tdirectcoldec_a2b2r.add(gdstk.Label('vss', (14.44,-0.475), layer=67, texttype=16))

lib.write_gds('SP6TDirectColDec_A2B2R.gds')
